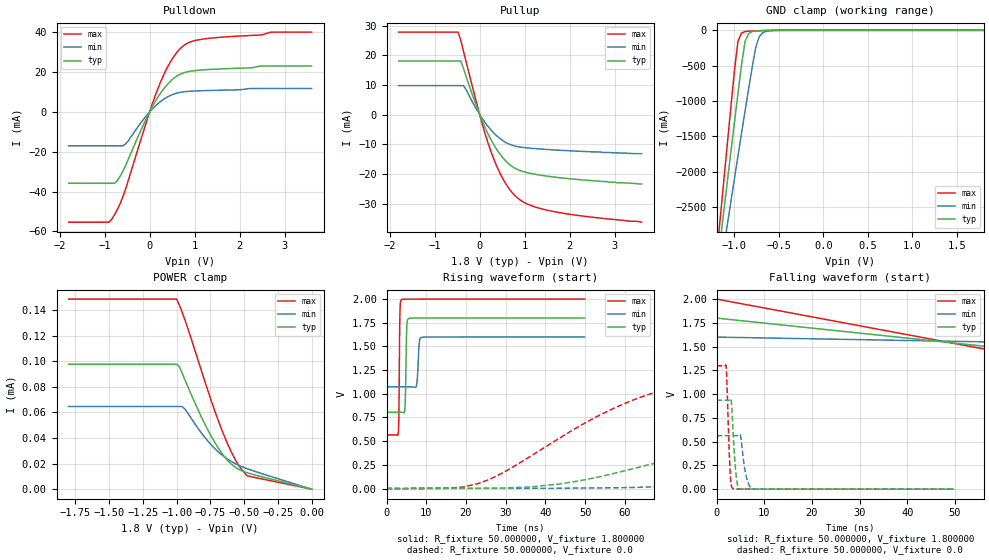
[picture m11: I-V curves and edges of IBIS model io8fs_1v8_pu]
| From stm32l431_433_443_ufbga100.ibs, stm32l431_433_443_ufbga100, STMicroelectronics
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|   Model io8fs_1v8_pu
[Model]  io8fs_1v8_pu
Model_type I/O
Polarity   Non-Inverting
Enable   Active-Low
Vinl =   0.540000V
Vinh =   1.260000V
Vmeas =  0.900000V
Cref =   100.000000nF
Rref =   1.000000k
Vref =   1.800000V
C_comp   2.197300pF   2.162700pF   2.264100pF
[Temperature Range]   25.000000   0.125000k   -40.000000
[Pullup Reference]   1.800000V   1.600000V   2.000000V
[Pulldown Reference]   0.0V   0.0V   0.0V
[POWER Clamp Reference]   1.800000V   1.600000V   2.000000V
[GND Clamp Reference]   0.0V   0.0V   0.0V
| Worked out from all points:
|   slope of the pulldown table from 0 to 0.27 V, typ, clamps not added: 26.2 ohm
|   slope of the pullup table from 0 to 0.27 V, typ, clamps not added: 30.1 ohm
|   GND clamp passes 1 mA (typ) near -0.58 V on its own axis
|   rising waveform, R_fixture 50.000000, V_fixture 1.800000: 20-80 % time 248ps typ, 382ps min, 183ps max; typ from 0.805 V to 1.8 V
|   rising waveform, R_fixture 50.000000, V_fixture 0.0: 20-80 % time 65.3ns typ, 116ns min, 36.2ns max; typ from 0.001 V to 0.935 V
|   falling waveform, R_fixture 50.000000, V_fixture 1.800000: 20-80 % time 116ns typ, 164ns min, 91.9ns max; typ from 1.8 V to 0.805 V
|   falling waveform, R_fixture 50.000000, V_fixture 0.0: 20-80 % time 712ps typ, 1.01ns min, 547ps max; typ from 0.935 V to 0.001 V
[Pulldown]
|Voltage   I(typ)   I(min)   I(max)
-1.8V     -35.82mA   -17.03mA   -55.35mA
-900mV    -35.82mA   -17.03mA   -55.35mA
-840mV    -35.82mA   -17.03mA   -53.76mA
-720mV    -34.49mA   -17.03mA   -49.08mA
-540mV    -27.18mA   -16.22mA   -39.07mA
-60mV     -2.756mA   -1.584mA   -4.226mA
240mV     9.353mA    5.171mA    14.85mA
480mV     15.75mA    8.427mA    25.77mA
720mV     19.29mA    9.947mA    32.62mA
960mV     20.57mA    10.43mA    35.5mA
1.32V     21.27mA    10.74mA    36.91mA
3.6V      23.03mA    11.73mA    40.04mA
[Pullup]
|Voltage   I(typ)   I(min)   I(max)
-1.8V     18.05mA    9.741mA    27.78mA
-480mV    18.05mA    9.741mA    27.78mA
-420mV    18.05mA    9.741mA    25.03mA
-360mV    15.57mA    9.741mA    21.38mA
60mV      -2.268mA   -1.401mA   -3.341mA
240mV     -8.143mA   -5.004mA   -12mA
360mV     -11.31mA   -6.914mA   -16.72mA
540mV     -15mA      -9.056mA   -22.31mA
840mV     -18.52mA   -10.83mA   -28.11mA
1.14V     -19.87mA   -11.38mA   -30.67mA
1.62V     -21.02mA   -11.91mA   -32.63mA
3.6V      -23.4mA    -13.2mA    -36.3mA
[GND_clamp]
|Voltage   I(typ)   I(min)   I(max)
-1.8V     -9.861A    -8.8A      -9.626A
-1.16V    -3.004A    -3.417A    -2.68A
-1.12V    -2.579A    -3.088A    -2.15A
-1.08V    -2.155A    -2.76A     -1.623A
-1V       -1.315A    -2.108A    -586.3mA
-960mV    -900.6mA   -1.784A    -158.3mA
-920mV    -496.8mA   -1.462A    -39.39mA
-880mV    -160.5mA   -1.144A    -17.82mA
-840mV    -45.92mA   -830.3mA   -12.52mA
-760mV    -8.262mA   -243mA     -7.547mA
-680mV    -3.389mA   -33.05mA   -3.833mA
1.8V      0A         0A         0A
[POWER_clamp]
|Voltage   I(typ)   I(min)   I(max)
-1.8V     97.61uA    64.61uA    148.6uA
-1V       97.61uA    64.61uA    148.6uA
-980mV    95.77uA    64.61uA    143.9uA
-960mV    90.85uA    64.61uA    138.6uA
-940mV    85.82uA    62.87uA    132.7uA
-820mV    57.18uA    44.44uA    93.74uA
-720mV    36.98uA    32uA       61.96uA
-620mV    22.23uA    23.29uA    34.8uA
-560mV    16.76uA    19.67uA    22.06uA
-520mV    14.49uA    17.74uA    15.63uA
-480mV    12.91uA    16.08uA    10.62uA
0V        0A         0A         0A
[Ramp]
| variable   typ   min   max
dV/dt_r  0.56074/65.15328n   0.33715/0.11613u   0.77863/36.11629n
dV/dt_f  0.59675/66.14092n   0.31608/0.11580u   0.86035/34.94520n
R_load = 50.000000
[Rising Waveform]
R_fixture= 50.000000
V_fixture= 1.800000
V_fixture_min= 1.600000
V_fixture_max= 2.000000
|time   V(typ)   V(min)   V(max)
0s        805.4mV    1.073V     566.1mV
2.903ns   805.4mV    1.073V     567.4mV
3.103ns   805.5mV    1.073V     741.6mV
3.403ns   805.4mV    1.073V     1.899V
3.804ns   805.2mV    1.073V     1.994V
4.605ns   829.2mV    1.073V     1.999V
5.105ns   1.72V      1.073V     1.999V
5.606ns   1.795V     1.073V     2V
8.809ns   1.8V       1.595V     2V
49.85ns   1.8V       1.6V       2V
[Rising Waveform]
R_fixture= 50.000000
V_fixture= 0.0
V_fixture_min= 0.0
V_fixture_max= 0.0
|time   V(typ)   V(min)   V(max)
0s        725.1uV    1.151mV    481.9uV
24.02ns   2.96mV     2.594mV    66.56mV
43.24ns   46.77mV    3.569mV    524.2mV
55.26ns   140.5mV    7.488mV    807.7mV
73.27ns   329.9mV    23.85mV    1.087V
109.3ns   656.2mV    119.8mV    1.262V
140.5ns   809.8mV    231.7mV    1.288V
171.8ns   879.9mV    333.9mV    1.295V
261.9ns   930.7mV    500.9mV    1.298V
598.2ns   935.3mV    563.1mV    1.298V
[Falling Waveform]
R_fixture= 50.000000
V_fixture= 1.800000
V_fixture_min= 1.600000
V_fixture_max= 2.000000
|time   V(typ)   V(min)   V(max)
0s        1.8V       1.6V       2V
150.2ns   1.008V     1.466V     594.8mV
300.3ns   818.5mV    1.138V     566.8mV
450.5ns   806.4mV    1.085V     566.1mV
750.8ns   805.4mV    1.074V     566.1mV
14.86us   805.4mV    1.073V     566.1mV
[Falling Waveform]
R_fixture= 50.000000
V_fixture= 0.0
V_fixture_min= 0.0
V_fixture_max= 0.0
|time   V(typ)   V(min)   V(max)
0s        935.3mV    563.1mV    1.298V
2.002ns   935.5mV    563.1mV    1.304V
2.803ns   939.3mV    563.2mV    229.2mV
3.103ns   929.5mV    563.3mV    39.8mV
3.403ns   667.7mV    563.3mV    8.256mV
4.104ns   151.9mV    563mV      1.962mV
4.805ns   5.628mV    576.1mV    1.506mV
6.306ns   870.4uV    119.8mV    1.426mV
7.508ns   746.4uV    3.798mV    1.412mV
49.85ns   725.1uV    1.151mV    481.9uV
